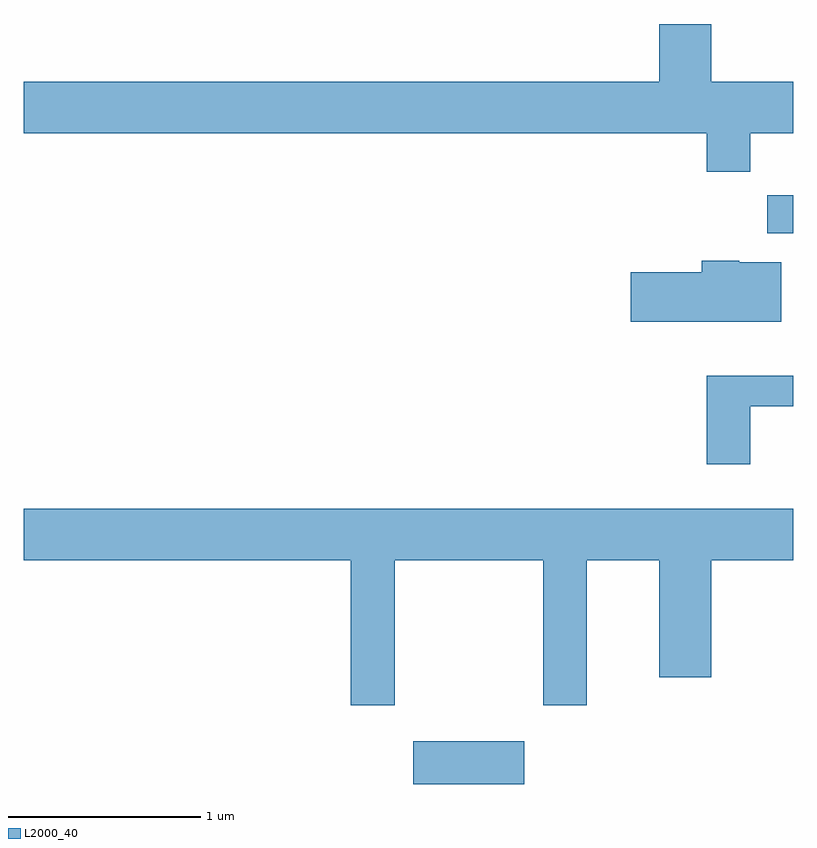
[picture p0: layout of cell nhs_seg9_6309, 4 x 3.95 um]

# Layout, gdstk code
import gdstk
lib = gdstk.Library(unit=1e-6, precision=1e-09)
def R(c, l, rs):  # rectangles x0, y0, x1, y1
    for r in rs: c.add(gdstk.rectangle(r[:2], r[2:], *l))
def P(c, l, *ps):  # polygons
    for p in ps: c.add(gdstk.Polygon(p, *l))
L2000_40 = (2000, 40)

nhs_seg9_6309 = lib.new_cell('nhs_seg9_6309')
R(nhs_seg9_6309, L2000_40, [(373.636,1988.432,374.214,1988.654), (375.476,1991.296,375.611,1991.494)])
P(nhs_seg9_6309, L2000_40, [(375.389,1991.816),(375.611,1991.816),(375.611,1992.084),(375.184,1992.084),(375.184,1992.384),(374.916,1992.384),(374.916,1992.084),(371.611,1992.084),(371.611,1991.816),(375.161,1991.816),(375.161,1991.616),(375.389,1991.616)],
  [(375.549,1991.144),(375.33,1991.144),(375.33,1991.154),(375.136,1991.154),(375.136,1991.094),(374.766,1991.094),(374.766,1990.836),(375.549,1990.836)],
  [(375.389,1990.396),(375.611,1990.396),(375.611,1990.554),(375.161,1990.554),(375.161,1990.096),(375.389,1990.096)],
  [(373.539,1989.596),(374.311,1989.596),(374.311,1988.841),(374.539,1988.841),(374.539,1989.596),(374.916,1989.596),(374.916,1988.986),(375.184,1988.986),(375.184,1989.596),(375.611,1989.596),(375.611,1989.864),(371.611,1989.864),(371.611,1989.596),(373.311,1989.596),(373.311,1988.841),(373.539,1988.841)])

lib.write_gds('nhs_seg9_6309.gds')
